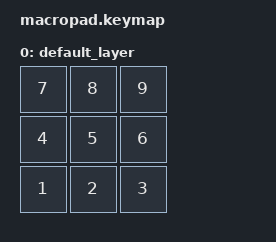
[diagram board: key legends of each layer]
#include <behaviors.dtsi>
#include <dt-bindings/zmk/keys.h>
#include <dt-bindings/zmk/bt.h>
#include <dt-bindings/zmk/outputs.h>
#include <dt-bindings/zmk/ext_power.h>

#define DEFAULT 0

/ {
    keymap {
        compatible = "zmk,keymap";

        default_layer {
            bindings = <
                &kp N7 &kp N8 &kp N9
                &kp N4 &kp N5 &kp N6
                &kp N1 &kp N2 &kp N3
            >;
        };
    };
};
